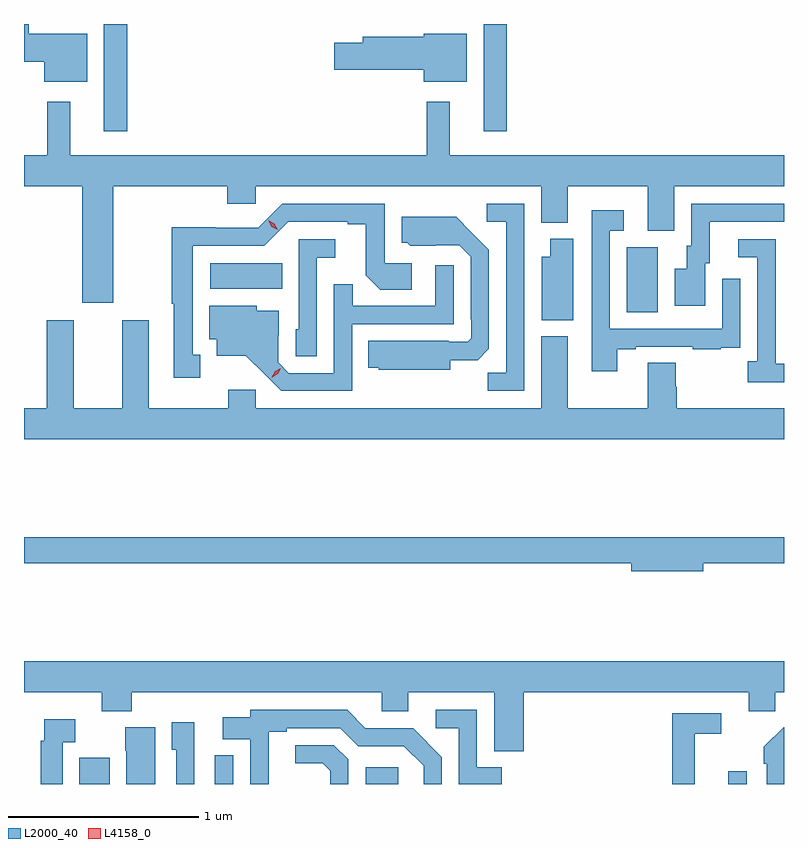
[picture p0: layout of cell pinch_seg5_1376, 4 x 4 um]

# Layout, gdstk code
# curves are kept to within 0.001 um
import gdstk
lib = gdstk.Library(unit=1e-6, precision=1e-09)
def R(c, l, rs):  # rectangles x0, y0, x1, y1
    for r in rs: c.add(gdstk.rectangle(r[:2], r[2:], *l))
def P(c, l, *ps):  # polygons
    for p in ps: c.add(gdstk.Polygon(p, *l))
L2000_40 = (2000, 40)
L4158_0 = (4158, 0)

pinch_seg5_1376 = lib.new_cell('pinch_seg5_1376')
R(pinch_seg5_1376, L2000_40, [(165.548,893.574,165.706,893.713), (166.26,893.574,166.356,893.725), (167.054,893.574,167.227,893.661), (168.963,893.574,169.059,893.641), (168.428,896.056,168.592,896.4), (166.236,896.18,166.616,896.314), (165.677,897.009,165.799,897.574), (167.675,897.009,167.797,897.574)])
P(pinch_seg5_1376, L2000_40, [(165.589,897.523),(165.28,897.523),(165.28,897.574),(165.256,897.574),(165.256,897.376),(165.362,897.376),(165.362,897.269),(165.589,897.269)],
  [(167.587,897.523),(167.36,897.523),(167.36,897.506),(167.039,897.506),(167.039,897.476),(166.89,897.476),(166.89,897.334),(167.36,897.334),(167.36,897.269),(167.587,897.269)],
  [(165.727,896.72),(166.325,896.72),(166.325,896.627),(166.476,896.627),(166.476,896.72),(167.978,896.72),(167.978,896.528),(168.118,896.528),(168.118,896.72),(168.539,896.72),(168.539,896.485),(168.679,896.485),(168.679,896.72),(169.256,896.72),(169.256,896.884),(167.497,896.884),(167.497,897.166),(167.376,897.166),(167.376,896.884),(165.499,896.884),(165.499,897.166),(165.378,897.166),(165.378,896.884),(165.256,896.884),(165.256,896.72),(165.563,896.72),(165.563,896.106),(165.727,896.106)],
  [(166.183,895.833),(166.144,895.833),(166.144,896.406),(166.521,896.406),(166.647,896.532),(166.961,896.532),(166.961,896.52),(167.055,896.52),(167.055,896.252),(167.131,896.176),(167.296,896.176),(167.296,896.316),(167.154,896.316),(167.154,896.628),(166.614,896.628),(166.488,896.502),(166.266,896.502),(166.266,896.504),(166.033,896.504),(166.033,896.101),(166.043,896.101),(166.043,895.713),(166.183,895.713)],
  [(168.841,896.316),(168.865,896.316),(168.865,896.532),(169.256,896.532),(169.256,896.628),(168.768,896.628),(168.768,896.406),(168.743,896.406),(168.743,896.287),(168.68,896.287),(168.68,896.091),(168.841,896.091)],
  [(167.889,896.628),(167.691,896.628),(167.691,896.532),(167.793,896.532),(167.793,895.739),(167.698,895.739),(167.698,895.644),(167.889,895.644)],
  [(168.379,895.863),(168.475,895.863),(168.475,895.875),(168.775,895.875),(168.775,895.863),(168.923,895.863),(168.923,895.869),(169.025,895.869),(169.025,895.978),(169.026,895.978),(169.026,896.233),(168.93,896.233),(168.93,895.971),(168.339,895.971),(168.339,896.487),(168.412,896.487),(168.412,896.593),(168.243,896.593),(168.243,895.746),(168.379,895.746)],
  [(167.5,895.805),(167.644,895.805),(167.703,895.864),(167.703,896.386),(167.531,896.56),(167.243,896.56),(167.243,896.424),(167.274,896.424),(167.29,896.408),(167.547,896.409),(167.607,896.349),(167.607,896.02),(167.61,896.02),(167.61,895.92),(167.592,895.902),(167.492,895.902),(167.492,895.906),(167.068,895.906),(167.068,895.766),(167.124,895.766),(167.124,895.754),(167.5,895.754)],
  [(168.148,896.443),(168.026,896.443),(168.026,896.35),(167.981,896.35),(167.981,896.015),(168.148,896.015)],
  [(166.797,896.345),(166.894,896.345),(166.894,896.442),(166.701,896.442),(166.701,895.968),(166.686,895.968),(166.686,895.825),(166.797,895.825)],
  [(169.256,895.785),(169.213,895.785),(169.213,895.985),(169.212,895.985),(169.212,896.442),(169.014,896.442),(169.014,896.346),(169.116,896.346),(169.116,895.798),(169.065,895.798),(169.065,895.688),(169.256,895.688)],
  [(166.983,895.995),(167.517,895.995),(167.517,896.305),(167.421,896.305),(167.421,896.091),(166.985,896.091),(166.985,896.204),(166.887,896.204),(166.887,895.737),(166.65,895.737),(166.593,895.794),(166.593,895.936),(166.597,895.936),(166.597,896.065),(166.482,896.065),(166.482,896.092),(166.232,896.092),(166.232,895.916),(166.271,895.916),(166.271,895.829),(166.423,895.829),(166.61,895.644),(166.983,895.644)],
  [(169.256,895.552),(168.692,895.552),(168.692,895.665),(168.687,895.665),(168.687,895.79),(168.539,895.79),(168.539,895.552),(168.118,895.552),(168.118,895.93),(167.978,895.93),(167.978,895.552),(166.476,895.552),(166.476,895.648),(166.33,895.648),(166.33,895.552),(165.913,895.552),(165.913,896.014),(165.773,896.014),(165.773,895.552),(165.517,895.552),(165.517,896.014),(165.377,896.014),(165.377,895.552),(165.256,895.552),(165.256,895.388),(169.256,895.388)],
  [(168.832,894.736),(169.256,894.736),(169.256,894.872),(165.256,894.872),(165.256,894.736),(168.452,894.736),(168.452,894.694),(168.832,894.694)],
  [(167.885,894.056),(169.07,894.056),(169.07,893.958),(169.209,893.958),(169.209,894.056),(169.256,894.056),(169.256,894.22),(165.256,894.22),(165.256,894.056),(165.664,894.056),(165.664,893.957),(165.824,893.957),(165.824,894.056),(167.138,894.056),(167.138,893.957),(167.278,893.957),(167.278,894.056),(167.732,894.056),(167.732,893.747),(167.885,893.747)],
  [(167.77,893.662),(167.64,893.662),(167.64,893.964),(167.424,893.964),(167.424,893.868),(167.544,893.868),(167.544,893.574),(167.77,893.574)],
  [(166.543,893.848),(166.639,893.848),(166.639,893.868),(166.92,893.868),(167.016,893.772),(167.152,893.772),(167.152,893.774),(167.254,893.774),(167.36,893.669),(167.36,893.574),(167.454,893.574),(167.454,893.716),(167.304,893.868),(167.053,893.868),(166.957,893.964),(166.446,893.964),(166.446,893.926),(166.302,893.926),(166.302,893.81),(166.446,893.81),(166.446,893.574),(166.543,893.574)],
  [(168.785,893.838),(168.925,893.838),(168.925,893.946),(168.667,893.946),(168.667,893.574),(168.785,893.574)],
  [(165.459,893.793),(165.526,893.793),(165.526,893.914),(165.362,893.914),(165.362,893.801),(165.343,893.801),(165.343,893.574),(165.459,893.574)],
  [(166.152,893.899),(166.034,893.899),(166.034,893.754),(166.056,893.754),(166.056,893.574),(166.152,893.574)],
  [(169.256,893.874),(169.255,893.873),(169.254,893.874),(169.149,893.769),(169.149,893.681),(169.164,893.681),(169.164,893.574),(169.256,893.574)],
  [(165.946,893.872),(165.788,893.872),(165.788,893.748),(165.794,893.748),(165.794,893.574),(165.946,893.574)],
  [(166.962,893.703),(166.887,893.778),(166.683,893.778),(166.683,893.684),(166.829,893.684),(166.869,893.643),(166.869,893.574),(166.962,893.574)])
P(pinch_seg5_1376, L4158_0, [(166.561,895.716),(166.561,895.716),(166.578,895.746),(166.608,895.762),(166.608,895.762),(166.608,895.762),(166.592,895.732),(166.562,895.716)],
  [(166.591,896.49),(166.559,896.508),(166.542,896.541),(166.542,896.541),(166.542,896.541),(166.574,896.522),(166.591,896.49),(166.591,896.49)])

lib.write_gds('pinch_seg5_1376.gds')
